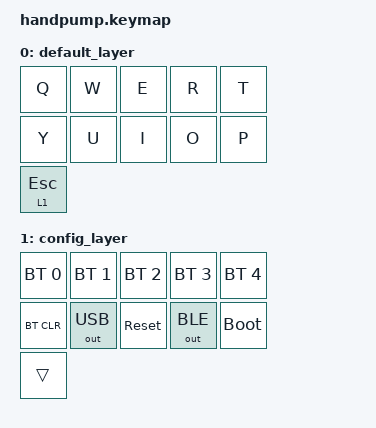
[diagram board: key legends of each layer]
#include <behaviors.dtsi>
#include <dt-bindings/zmk/bt.h>
#include <dt-bindings/zmk/keys.h>
#include <dt-bindings/zmk/outputs.h>


/ {
  keymap {
        compatible = "zmk,keymap";

        default_layer {
		bindings = <
		&kp Q &kp W &kp E &kp R &kp T
		&kp Y &kp U &kp I &kp O &kp P
		&lt 1 ESC
		>;
	};
        config_layer {
		bindings = <
		&bt BT_SEL 0 &bt BT_SEL 1 &bt BT_SEL 2 &bt BT_SEL 3 &bt BT_SEL 4 
		&bt BT_CLR   &out OUT_USB &sys_reset   &out OUT_BLE &bootloader
		&trans
		>;
	};

    };
};
